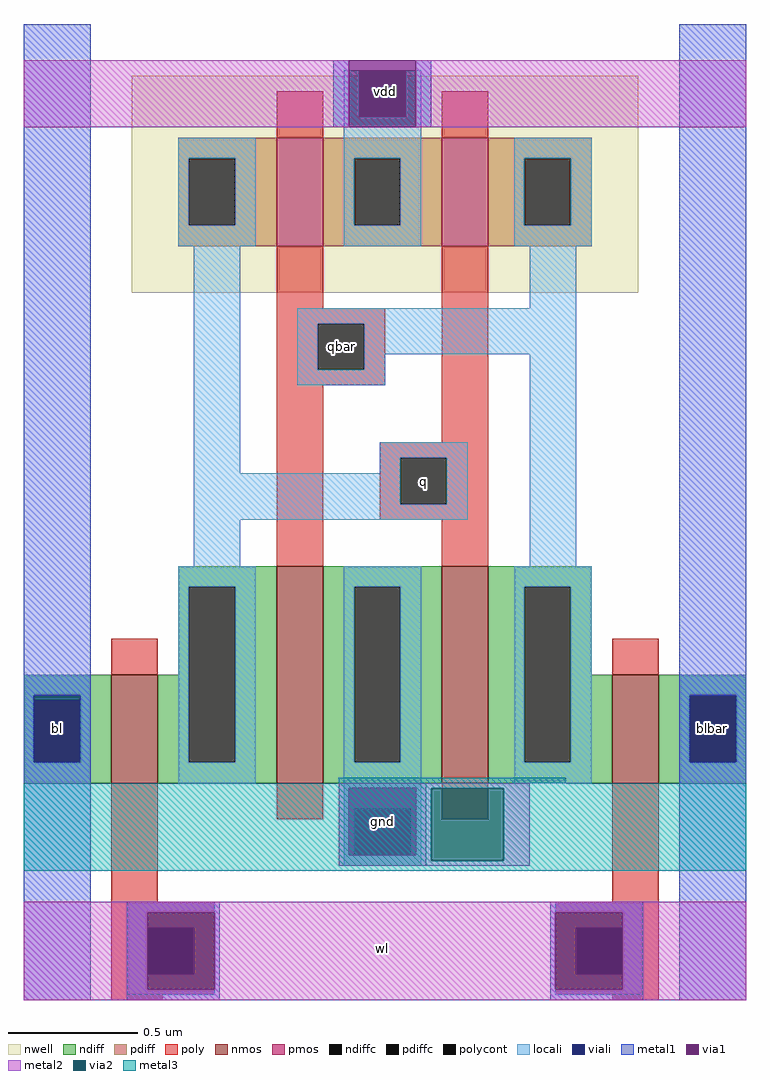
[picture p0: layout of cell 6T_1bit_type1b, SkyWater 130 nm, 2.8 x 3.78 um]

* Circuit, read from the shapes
.subckt 6T_1bit_type1b qbar q bl blbar wl vdd gnd
XM1 q wl bl VSUBS sky130_fd_pr__nfet_01v8 w=0.42 l=0.18
XM2 gnd qbar q VSUBS sky130_fd_pr__nfet_01v8 w=0.84 l=0.18
XM3 qbar q gnd VSUBS sky130_fd_pr__nfet_01v8 w=0.84 l=0.18
XM4 blbar wl qbar VSUBS sky130_fd_pr__nfet_01v8 w=0.42 l=0.18
XM5 vdd qbar q n1 sky130_fd_pr__pfet_01v8 w=0.42 l=0.18
XM6 qbar q vdd n1 sky130_fd_pr__pfet_01v8 w=0.42 l=0.18
.ends

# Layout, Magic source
magic
tech sky130A
<< nwell >>
rect -54 108 142 192
<< nmos >>
rect -62 -82 -44 -40
rect 2 -82 20 2
rect 66 -82 84 2
rect 132 -82 150 -40
<< pmos >>
rect 2 126 20 168
rect 66 126 84 168
<< ndiff >>
rect -36 -6 2 2
rect -36 -40 -32 -6
rect -96 -50 -62 -40
rect -96 -74 -92 -50
rect -74 -74 -62 -50
rect -96 -82 -62 -74
rect -44 -74 -32 -40
rect -14 -74 2 -6
rect -44 -82 2 -74
rect 20 -6 66 2
rect 20 -74 32 -6
rect 50 -74 66 -6
rect 20 -82 66 -74
rect 84 -6 124 2
rect 84 -74 98 -6
rect 116 -40 124 -6
rect 116 -74 132 -40
rect 84 -82 132 -74
rect 150 -48 184 -40
rect 150 -74 162 -48
rect 180 -74 184 -48
rect 150 -82 184 -74
<< pdiff >>
rect -36 160 2 168
rect -36 134 -32 160
rect -14 134 2 160
rect -36 126 2 134
rect 20 160 66 168
rect 20 134 32 160
rect 50 134 66 160
rect 20 126 66 134
rect 84 160 124 168
rect 84 134 98 160
rect 116 134 124 160
rect 84 126 124 134
<< ndiffc >>
rect -92 -74 -74 -50
rect -32 -74 -14 -6
rect 32 -74 50 -6
rect 98 -74 116 -6
rect 162 -74 180 -48
<< pdiffc >>
rect -32 134 -14 160
rect 32 134 50 160
rect 98 134 116 160
<< poly >>
rect 2 168 20 186
rect 66 168 84 186
rect 2 102 20 126
rect 2 96 44 102
rect 2 78 18 96
rect 36 78 44 96
rect 2 72 44 78
rect 2 2 20 72
rect 66 50 84 126
rect 42 44 84 50
rect 42 26 50 44
rect 68 26 84 44
rect 42 20 84 26
rect 66 2 84 20
rect -62 -40 -44 -26
rect 132 -40 150 -26
rect -62 -128 -44 -82
rect 2 -96 20 -82
rect 66 -96 84 -82
rect 132 -128 150 -82
rect -62 -138 -22 -128
rect -62 -156 -48 -138
rect -30 -156 -22 -138
rect -62 -164 -22 -156
rect 110 -138 150 -128
rect 110 -156 118 -138
rect 136 -156 150 -138
rect 110 -164 150 -156
rect -62 -166 -42 -164
rect 132 -166 150 -164
<< polycont >>
rect 18 78 36 96
rect 50 26 68 44
rect -48 -156 -30 -138
rect 118 -156 136 -138
<< locali >>
rect 28 176 34 194
rect 52 176 58 194
rect -36 160 -6 168
rect -36 134 -32 160
rect -14 134 -6 160
rect -36 126 -6 134
rect 28 160 58 176
rect 28 134 32 160
rect 50 134 58 160
rect 28 126 58 134
rect 94 160 124 168
rect 94 134 98 160
rect 116 134 124 160
rect 94 126 124 134
rect -30 38 -12 126
rect 100 102 118 126
rect 10 96 118 102
rect 10 78 18 96
rect 36 84 118 96
rect 36 78 44 84
rect 10 72 44 78
rect 42 44 76 50
rect 42 38 50 44
rect -30 26 50 38
rect 68 26 76 44
rect -30 20 76 26
rect -30 2 -12 20
rect 100 2 118 84
rect -36 -6 -6 2
rect -96 -48 -70 -40
rect -96 -74 -92 -48
rect -74 -74 -70 -48
rect -96 -82 -70 -74
rect -36 -74 -32 -6
rect -14 -74 -6 -6
rect -36 -82 -6 -74
rect 28 -6 58 2
rect 28 -74 32 -6
rect 50 -74 58 -6
rect 28 -92 58 -74
rect 94 -6 124 2
rect 94 -74 98 -6
rect 116 -74 124 -6
rect 94 -82 124 -74
rect 158 -48 184 -40
rect 158 -74 162 -48
rect 180 -74 184 -48
rect 158 -82 184 -74
rect 28 -110 32 -92
rect 54 -110 58 -92
rect 28 -114 58 -110
rect -56 -138 -22 -128
rect -56 -156 -48 -138
rect -30 -156 -22 -138
rect -56 -164 -22 -156
rect 110 -138 144 -128
rect 110 -156 118 -138
rect 136 -156 144 -138
rect 110 -164 144 -156
<< viali >>
rect 34 176 52 194
rect -92 -50 -74 -48
rect -92 -74 -74 -50
rect 162 -74 180 -48
rect 32 -110 54 -92
rect -48 -156 -30 -138
rect 118 -156 136 -138
<< metal1 >>
rect -96 -48 -70 212
rect 24 172 30 198
rect 56 172 62 198
rect -96 -74 -92 -48
rect -74 -74 -70 -48
rect -96 -166 -70 -74
rect 158 -48 184 212
rect 158 -74 162 -48
rect 180 -74 184 -48
rect 26 -84 60 -82
rect 26 -110 30 -84
rect 56 -110 60 -84
rect 26 -114 60 -110
rect -56 -132 -20 -128
rect -56 -162 -48 -132
rect -22 -162 -20 -132
rect -56 -166 -20 -162
rect 108 -132 144 -128
rect 108 -162 110 -132
rect 136 -162 144 -132
rect 108 -166 144 -162
rect 158 -166 184 -74
<< via1 >>
rect 30 194 56 198
rect 30 176 34 194
rect 34 176 52 194
rect 52 176 56 194
rect 30 172 56 176
rect 30 -92 56 -84
rect 30 -110 32 -92
rect 32 -110 54 -92
rect 54 -110 56 -92
rect -48 -138 -22 -132
rect -48 -156 -30 -138
rect -30 -156 -22 -138
rect -48 -162 -22 -156
rect 110 -138 136 -132
rect 110 -156 118 -138
rect 118 -156 136 -138
rect 110 -162 136 -156
<< metal2 >>
rect -96 172 30 198
rect 56 172 184 198
rect 26 -84 100 -82
rect 26 -110 30 -84
rect 56 -110 62 -84
rect 26 -112 62 -110
rect 90 -112 100 -84
rect 26 -114 100 -112
rect -96 -132 184 -128
rect -96 -162 -48 -132
rect -22 -162 110 -132
rect 136 -162 184 -132
rect -96 -166 184 -162
<< via2 >>
rect 62 -112 90 -84
<< metal3 >>
rect 26 -82 114 -80
rect -96 -84 184 -82
rect -96 -112 62 -84
rect 90 -112 184 -84
rect -96 -116 184 -112
<< labels >>
rlabel locali 10 72 44 102 1 qbar
port 1 n
rlabel metal1 -96 -82 -70 -40 1 bl
port 3 n
rlabel metal1 158 -82 184 -40 1 blbar
port 4 n
rlabel locali 42 20 76 50 1 q
port 2 n
rlabel metal2 16 -164 70 -128 1 wl
port 5 n
rlabel metal2 26 174 62 198 1 vdd
port 6 n
rlabel metal3 26 -112 60 -82 1 gnd
port 7 n
<< end >>
